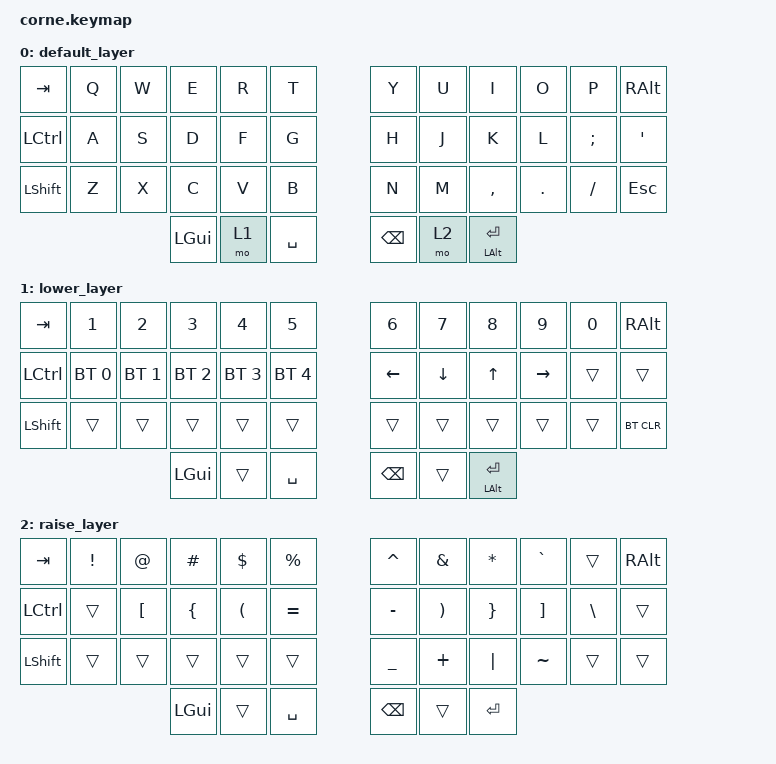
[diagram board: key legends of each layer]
/*
 * Copyright (c) 2020 The ZMK Contributors
 *
 * SPDX-License-Identifier: MIT
 */

#include <behaviors.dtsi>
#include <dt-bindings/zmk/keys.h>
#include <dt-bindings/zmk/bt.h>

/ {
        keymap {
                compatible = "zmk,keymap";

                default_layer {
// -----------------------------------------------------------------------------------------
// |  TAB |  Q  |  W  |  E  |  R  |  T  |   |  Y  |  U   |  I  |  O  |  P  | RALT |
// | CTRL |  A  |  S  |  D  |  F  |  G  |   |  H  |  J   |  K  |  L  |  ;  |  '   |
// | SHFT |  Z  |  X  |  C  |  V  |  B  |   |  N  |  M   |  ,  |  .  |  /  | ESC  |
//                    | GUI | LWR | SPC |   | BSP | RSE  | RET |
                        bindings = <
   &kp TAB   &kp Q &kp W &kp E &kp R &kp T   &kp Y &kp U  &kp I     &kp O   &kp P    &kp RALT 
   &kp LCTRL &kp A &kp S &kp D &kp F &kp G   &kp H &kp J  &kp K     &kp L   &kp SEMI &kp SQT
   &kp LSHFT &kp Z &kp X &kp C &kp V &kp B   &kp N &kp M  &kp COMMA &kp DOT &kp FSLH &kp ESC
                  &kp LGUI &mo 1 &kp SPACE   &kp BSPC &mo 2 &mt LALT RET
                        >;
                };
                lower_layer {
// -----------------------------------------------------------------------------------------
// |  TAB |  1  |  2  |  3  |  4  |  5  |   |  6  |  7  |  8  |  9  |  0  | RALT |
// | BTCLR| BT1 | BT2 | BT3 | BT4 | BT5 |   | LFT | DWN |  UP | RGT |     |      |
// | SHFT |     |     |     |     |     |   |     |     |     |     |     | BTCLR|
//                    | GUI |     | SPC |   | BSP |     | RET |
                        bindings = <
   &kp TAB    &kp N1       &kp N2       &kp N3       &kp N4       &kp N5         &kp N6   &kp N7   &kp N8 &kp N9    &kp N0 &kp RALT 
   &kp LCTRL  &bt BT_SEL 0 &bt BT_SEL 1 &bt BT_SEL 2 &bt BT_SEL 3 &bt BT_SEL 4   &kp LEFT &kp DOWN &kp UP &kp RIGHT &trans &trans
   &kp LSHFT  &trans       &trans       &trans       &trans       &trans         &trans   &trans   &trans &trans    &trans &bt BT_CLR
                                    &kp LGUI     &trans       &kp SPACE      &kp BSPC  &trans   &mt LALT RET 
                        >;
                };

                raise_layer {
// -----------------------------------------------------------------------------------------
// |  TAB |  !  |  @  |  #  |  $  |  %  |   |  ^  |  &  |  *  |  ~  |     | BSPC |
// | CTRL |     |  [  |  {  |  (  |  =  |   |  -  |  )  |  }  |  ]  |  \  |      |
// | SHFT |     |     |     |     |     |   |  _  |  +  |  |  |  `  |     |      |
//                    | GUI |     | SPC |   | BSPC |     | ENT |
                        bindings = <
   &kp  TAB  &kp EXCL &kp AT &kp HASH &kp DLLR &kp PRCNT      &kp CARET &kp AMPS  &kp ASTRK &kp GRAVE &trans  &kp RALT 
   &kp LCTRL &trans   &kp LBKT  &kp LBRC   &kp LPAR &kp EQUAL &kp MINUS &kp RPAR  &kp RBRC  &kp RBKT &kp BSLH &trans 
   &kp LSHFT &trans   &trans &trans   &trans   &trans         &kp UNDER &kp PLUS  &kp PIPE &kp TILDE &trans &trans
                             &kp LGUI &trans   &kp SPACE      &kp BSPC  &trans    &kp RET
                        >;
                };
        };
};
